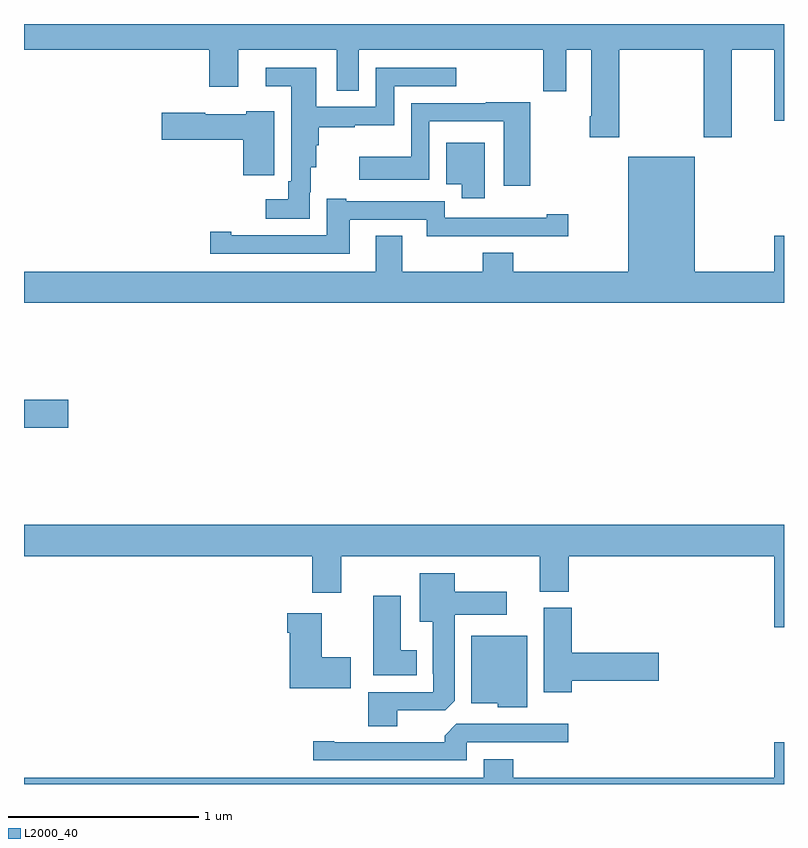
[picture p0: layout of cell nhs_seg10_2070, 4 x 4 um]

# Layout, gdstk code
import gdstk
lib = gdstk.Library(unit=1e-6, precision=1e-09)
def R(c, l, rs):  # rectangles x0, y0, x1, y1
    for r in rs: c.add(gdstk.rectangle(r[:2], r[2:], *l))
def P(c, l, *ps):  # polygons
    for p in ps: c.add(gdstk.Polygon(p, *l))
L2000_40 = (2000, 40)

nhs_seg10_2070 = lib.new_cell('nhs_seg10_2070')
R(nhs_seg10_2070, L2000_40, [(221,1250.375,221.233,1250.522)])
P(nhs_seg10_2070, L2000_40, [(224.133,1252.364),(224.578,1252.364),(224.578,1251.903),(224.725,1251.903),(224.725,1252.364),(224.948,1252.364),(224.948,1251.99),(225,1251.99),(225,1252.5),(221,1252.5),(221,1252.364),(221.975,1252.364),(221.975,1252.17),(222.127,1252.17),(222.127,1252.364),(222.647,1252.364),(222.647,1252.15),(222.763,1252.15),(222.763,1252.364),(223.732,1252.364),(223.732,1252.146),(223.855,1252.146),(223.855,1252.364),(223.985,1252.364),(223.985,1252.015),(223.978,1252.015),(223.978,1251.903),(224.133,1251.903)],
  [(222.504,1251.615),(222.509,1251.615),(222.509,1251.746),(222.538,1251.746),(222.538,1251.861),(222.551,1251.861),(222.551,1251.957),(222.74,1251.957),(222.74,1251.968),(222.948,1251.968),(222.948,1252.173),(223.276,1252.173),(223.276,1252.269),(222.852,1252.269),(222.852,1252.065),(222.538,1252.065),(222.538,1252.269),(222.273,1252.269),(222.273,1252.172),(222.407,1252.172),(222.407,1251.673),(222.39,1251.673),(222.39,1251.577),(222.273,1251.577),(222.273,1251.476),(222.504,1251.476)],
  [(223.664,1252.088),(223.43,1252.088),(223.43,1252.083),(223.038,1252.083),(223.038,1251.802),(222.765,1251.802),(222.765,1251.68),(223.134,1251.68),(223.134,1251.987),(223.526,1251.987),(223.526,1251.648),(223.664,1251.648)],
  [(222.316,1252.042),(222.171,1252.042),(222.171,1252.024),(221.954,1252.024),(221.954,1252.032),(221.724,1252.032),(221.724,1251.89),(222.155,1251.89),(222.155,1251.705),(222.316,1251.705)],
  [(223.426,1251.874),(223.223,1251.874),(223.223,1251.656),(223.304,1251.656),(223.304,1251.582),(223.426,1251.582)],
  [(225,1251.385),(224.948,1251.385),(224.948,1251.196),(224.53,1251.196),(224.53,1251.802),(224.18,1251.802),(224.18,1251.196),(223.574,1251.196),(223.574,1251.295),(223.414,1251.295),(223.414,1251.196),(222.991,1251.196),(222.991,1251.386),(222.851,1251.386),(222.851,1251.196),(221,1251.196),(221,1251.032),(225,1251.032)],
  [(222.715,1251.471),(223.119,1251.471),(223.119,1251.383),(223.325,1251.383),(223.325,1251.384),(223.864,1251.384),(223.864,1251.5),(223.751,1251.5),(223.751,1251.481),(223.522,1251.481),(223.522,1251.48),(223.215,1251.48),(223.215,1251.567),(222.697,1251.567),(222.697,1251.58),(222.593,1251.58),(222.593,1251.387),(222.091,1251.387),(222.091,1251.407),(221.979,1251.407),(221.979,1251.291),(222.715,1251.291)],
  [(225,1249.864),(221,1249.864),(221,1249.7),(222.518,1249.7),(222.518,1249.506),(222.67,1249.506),(222.67,1249.7),(223.715,1249.7),(223.715,1249.513),(223.868,1249.513),(223.868,1249.7),(224.948,1249.7),(224.948,1249.326),(225,1249.326)],
  [(222.964,1248.888),(223.218,1248.888),(223.267,1248.937),(223.267,1249.391),(223.54,1249.391),(223.54,1249.513),(223.267,1249.513),(223.267,1249.609),(223.082,1249.609),(223.082,1249.355),(223.151,1249.355),(223.151,1249.081),(223.155,1249.081),(223.155,1248.984),(222.812,1248.984),(222.812,1248.805),(222.964,1248.805)],
  [(223.066,1249.204),(222.982,1249.204),(222.982,1249.492),(222.839,1249.492),(222.839,1249.073),(223.066,1249.073)],
  [(223.883,1249.043),(224.341,1249.043),(224.341,1249.19),(223.883,1249.19),(223.883,1249.428),(223.736,1249.428),(223.736,1248.984),(223.883,1248.984)],
  [(222.721,1249.167),(222.568,1249.167),(222.568,1249.399),(222.386,1249.399),(222.386,1249.295),(222.398,1249.295),(222.398,1249.004),(222.721,1249.004)],
  [(223.648,1249.279),(223.355,1249.279),(223.355,1248.926),(223.494,1248.926),(223.494,1248.905),(223.648,1248.905)],
  [(223.329,1248.72),(223.864,1248.72),(223.864,1248.816),(223.275,1248.816),(223.214,1248.754),(223.214,1248.72),(222.634,1248.72),(222.634,1248.725),(222.522,1248.725),(222.522,1248.624),(223.329,1248.624)],
  [(225,1248.721),(224.948,1248.721),(224.948,1248.532),(223.574,1248.532),(223.574,1248.631),(223.421,1248.631),(223.421,1248.532),(221,1248.532),(221,1248.5),(225,1248.5)])

lib.write_gds('nhs_seg10_2070.gds')
